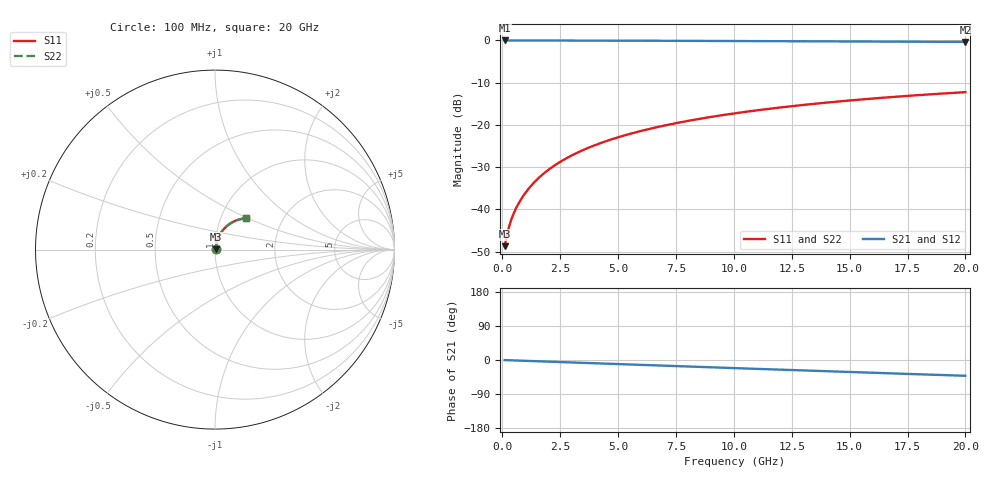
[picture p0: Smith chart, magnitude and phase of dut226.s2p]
! Touchstone file exported from HFSS 2026.1.0
!  File:  C:/ffzhzh/LocalFiles/Ansys_Project_Files/temp_train_TMRDL_226_1782984422_6248.aedt
!  Generated:  05:28:13 PM Jul  2, 2026
!  Design:  TMRDL
!  Project:  temp_train_TMRDL_226_1782984422_6248
! Variables:
!  h_bsmrdl = 2um
!  h_ox = 20um
!  h_rdl = 5um
!  h_sub = 80um
!  h_tmrdl = 2.85um
!  h_tsv = 80um
!  h_via = 3um
!  l_bsmrdl = 300um
!  l_sub = 1072.91um
!  l_tmrdl = 672.91um
!  m_sub = 200um
!  pitch = 43.63um
!  r_tsv = 6um
!  s_tmrdl = 10um
!  w_bsmrdl = 18um
!  w_sub = 500um
!  w_tmrdl = 29.55um
!  x_tsv_center1 = 687.685um
!  x_tsv_center2 = 1005.685um
!  x_tsv_center3 = 1708.145um
!  x_tsv_center4 = 2026.145um
!  x_tsv_center5 = 2728.605um
!  x_tsv_center6 = 3046.605um
# GHz S MA R 50.000000
! Terminal data exported
! Port[1] = TM_RDL1_1_T1
! Port[2] = TM_RDL1_1_T2
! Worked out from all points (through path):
!   200 points, 100 MHz to 20 GHz, reference 50 ohm
!   highest |S21| = -0.03 dB at 100 MHz (marker M1); lowest = -0.4 dB at 20 GHz (marker M2)
!   group delay of S21, straight-line fit = 5.79 ps
!   lowest |S11| = -48.7 dB at 100 MHz (marker M3), VSWR 1.01, Z = 50.3 + j0.184 ohm
!   |S11| at or under -10 dB: start of sweep to end of sweep
!   |S22| runs from -48.7 to -12.3 dB; largest |S21 - S12| = 3.1e-15
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0.1  0.003659 29.9  0.9968 -0.2  0.9968 -0.2  0.003659 29.9
! Gamma 0 0 0 0
! Port Impedance 50 0 50 0
0.2  0.004925 45.9  0.9966 -0.5  0.9966 -0.5  0.004925 45.9
0.3  0.006321 53.8  0.9963 -0.7  0.9963 -0.7  0.006321 53.8
0.4  0.007694 58.5  0.9961 -0.9  0.9961 -0.9  0.007694 58.5
0.5  0.009033 61.8  0.9959 -1.1  0.9959 -1.1  0.009033 61.8
0.6  0.01036 64.3  0.9957 -1.3  0.9957 -1.3  0.01036 64.3
0.8  0.013 68.1  0.9955 -1.8  0.9955 -1.8  0.013 68.1
1.1  0.01702 71.7  0.9952 -2.4  0.9952 -2.4  0.01702 71.7
1.3  0.01975 73.3  0.9951 -2.8  0.9951 -2.8  0.01975 73.3
1.6  0.02388 74.8  0.9949 -3.5  0.9949 -3.5  0.02388 74.8
2.1  0.03084 76.1  0.9946 -4.6  0.9946 -4.6  0.03084 76.1
2.7  0.03923 76.5  0.9941 -5.9  0.9941 -5.9  0.03923 76.5
3.5  0.05041 76.2  0.9933 -7.6  0.9933 -7.6  0.05041 76.2
4.2  0.06013 75.4  0.9924 -9.1  0.9924 -9.1  0.06013 75.4
5  0.07113 74.2  0.9913 -10.8  0.9913 -10.8  0.07113 74.2
5.9  0.08335 72.7  0.9899 -12.7  0.9899 -12.7  0.08334 72.7
6.8  0.09536 71.1  0.9884 -14.6  0.9884 -14.6  0.09536 71.1
8.3  0.1149 68.3  0.9855 -17.8  0.9855 -17.8  0.1149 68.3
10.1  0.1375 64.8  0.9817 -21.6  0.9817 -21.6  0.1375 64.8
13.4  0.1765 58.3  0.974 -28.4  0.974 -28.4  0.1765 58.3
16.7  0.212 51.9  0.9658 -35.1  0.9658 -35.1  0.2119 51.9
20  0.2438 45.5  0.9575 -41.7  0.9575 -41.7  0.2437 45.5
